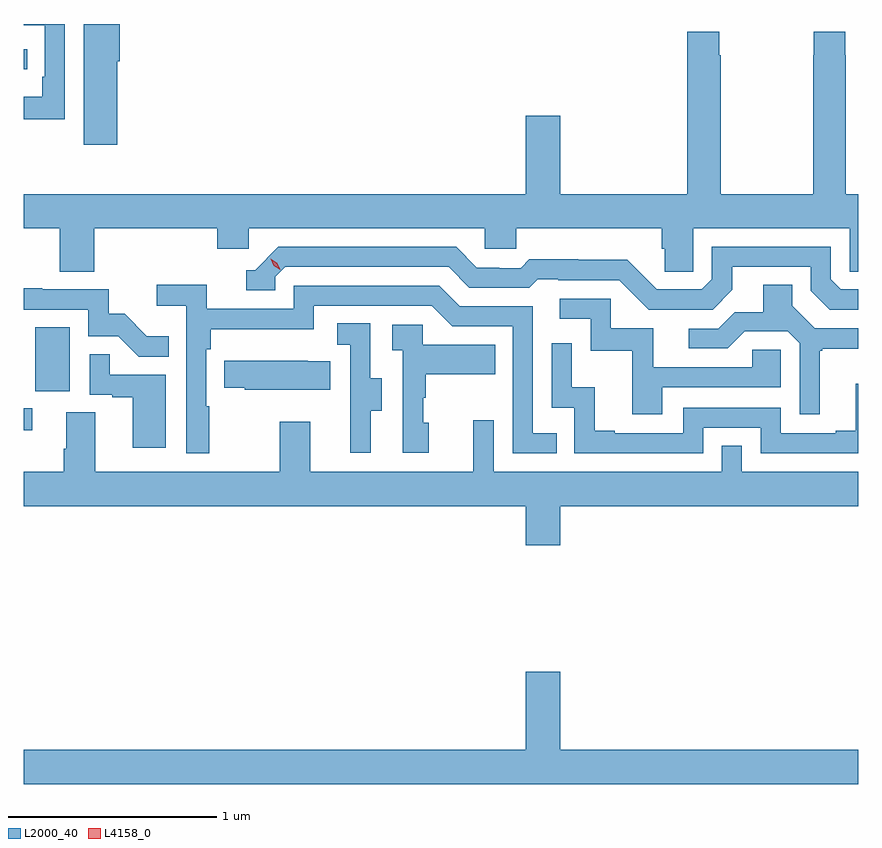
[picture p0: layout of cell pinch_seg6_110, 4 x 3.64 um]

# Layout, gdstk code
import gdstk
lib = gdstk.Library(unit=1e-6, precision=1e-09)
def R(c, l, rs):  # rectangles x0, y0, x1, y1
    for r in rs: c.add(gdstk.rectangle(r[:2], r[2:], *l))
def P(c, l, *ps):  # polygons
    for p in ps: c.add(gdstk.Polygon(p, *l))
L2000_40 = (2000, 40)
L4158_0 = (4158, 0)

pinch_seg6_110 = lib.new_cell('pinch_seg6_110')
R(pinch_seg6_110, L2000_40, [(905.857,918.396,905.896,918.501), (905.912,918.582,906.076,918.889), (905.857,920.127,905.872,920.223)])
P(pinch_seg6_110, L2000_40, [(906.304,920.166),(906.316,920.166),(906.316,920.344),(906.143,920.344),(906.143,919.764),(906.304,919.764)],
  [(906.054,920.344),(905.857,920.344),(905.857,920.337),(905.958,920.337),(905.958,920.092),(905.945,920.092),(905.945,919.996),(905.857,919.996),(905.857,919.887),(906.054,919.887)],
  [(906.194,919.364),(906.785,919.364),(906.785,919.266),(906.936,919.266),(906.936,919.364),(908.067,919.364),(908.067,919.266),(908.217,919.266),(908.217,919.364),(908.915,919.364),(908.915,919.266),(908.929,919.266),(908.929,919.156),(909.066,919.156),(909.066,919.364),(909.816,919.364),(909.816,919.156),(909.857,919.156),(909.857,919.528),(909.798,919.528),(909.798,920.195),(909.795,920.195),(909.795,920.308),(909.645,920.308),(909.645,920.195),(909.643,920.195),(909.643,919.528),(909.198,919.528),(909.198,920.195),(909.191,920.195),(909.191,920.308),(909.038,920.308),(909.038,919.528),(908.428,919.528),(908.428,919.903),(908.264,919.903),(908.264,919.528),(905.857,919.528),(905.857,919.364),(906.029,919.364),(906.029,919.156),(906.194,919.156)],
  [(909.253,919.069),(909.253,919.179),(909.63,919.179),(909.63,919.065),(909.72,918.975),(909.857,918.975),(909.857,919.071),(909.774,919.071),(909.726,919.119),(909.726,919.275),(909.156,919.275),(909.156,919.119),(909.108,919.071),(908.892,919.071),(908.75,919.213),(908.514,919.213),(908.514,919.216),(908.281,919.216),(908.239,919.173),(908.136,919.173),(908.136,919.176),(908.029,919.176),(907.93,919.275),(907.077,919.275),(906.966,919.164),(906.923,919.164),(906.923,919.068),(907.062,919.068),(907.062,919.131),(907.11,919.179),(907.893,919.179),(907.992,919.08),(908.281,919.08),(908.32,919.119),(908.419,919.119),(908.419,919.116),(908.712,919.116),(908.853,918.975),(909.159,918.975)],
  [(906.745,918.512),(906.732,918.512),(906.732,918.785),(906.752,918.785),(906.752,918.881),(907.248,918.881),(907.248,918.993),(907.812,918.993),(907.911,918.894),(908.202,918.894),(908.202,918.285),(908.411,918.285),(908.411,918.381),(908.298,918.381),(908.298,918.99),(907.948,918.99),(907.849,919.089),(907.152,919.089),(907.152,918.978),(906.734,918.978),(906.734,919.094),(906.495,919.094),(906.495,918.992),(906.636,918.992),(906.636,918.285),(906.745,918.285)],
  [(909.673,918.777),(909.685,918.777),(909.685,918.788),(909.857,918.788),(909.857,918.885),(909.648,918.885),(909.541,918.992),(909.541,919.094),(909.401,919.094),(909.401,918.962),(909.266,918.962),(909.186,918.882),(909.045,918.882),(909.045,918.789),(909.232,918.789),(909.313,918.87),(909.519,918.87),(909.576,918.813),(909.576,918.474),(909.673,918.474)],
  [(906.551,918.847),(906.447,918.847),(906.34,918.954),(906.264,918.954),(906.264,919.071),(905.945,919.071),(905.945,919.076),(905.857,919.076),(905.857,918.975),(906.165,918.975),(906.165,918.846),(906.309,918.846),(906.407,918.748),(906.551,918.748)],
  [(908.917,918.603),(909.486,918.603),(909.486,918.783),(909.349,918.783),(909.349,918.699),(908.875,918.699),(908.875,918.885),(908.67,918.885),(908.67,919.026),(908.427,919.026),(908.427,918.93),(908.574,918.93),(908.574,918.777),(908.773,918.777),(908.773,918.474),(908.917,918.474)],
  [(907.519,918.49),(907.573,918.49),(907.573,918.645),(907.518,918.645),(907.518,918.908),(907.359,918.908),(907.359,918.805),(907.422,918.805),(907.422,918.501),(907.421,918.501),(907.421,918.288),(907.519,918.288)],
  [(907.798,918.432),(907.773,918.432),(907.773,918.551),(907.783,918.551),(907.783,918.665),(908.117,918.665),(908.117,918.805),(907.77,918.805),(907.77,918.903),(907.623,918.903),(907.623,918.779),(907.674,918.779),(907.674,918.288),(907.798,918.288)],
  [(909.114,918.408),(909.39,918.408),(909.39,918.285),(909.857,918.285),(909.857,918.619),(909.845,918.619),(909.845,918.394),(909.749,918.394),(909.749,918.381),(909.486,918.381),(909.486,918.504),(909.018,918.504),(909.018,918.381),(908.689,918.381),(908.689,918.394),(908.594,918.394),(908.594,918.602),(908.484,918.602),(908.484,918.814),(908.388,918.814),(908.388,918.504),(908.496,918.504),(908.496,918.285),(909.114,918.285)],
  [(906.538,918.663),(906.269,918.663),(906.269,918.761),(906.174,918.761),(906.174,918.567),(906.281,918.567),(906.281,918.555),(906.38,918.555),(906.38,918.312),(906.538,918.312)],
  [(907.325,918.727),(907.217,918.727),(907.217,918.73),(906.817,918.73),(906.817,918.601),(906.915,918.601),(906.915,918.59),(907.325,918.59)],
  [(908.428,918.032),(909.857,918.032),(909.857,918.196),(909.3,918.196),(909.3,918.323),(909.204,918.323),(909.204,918.196),(908.109,918.196),(908.109,918.445),(908.012,918.445),(908.012,918.196),(907.231,918.196),(907.231,918.436),(907.084,918.436),(907.084,918.196),(906.199,918.196),(906.199,918.482),(906.059,918.482),(906.059,918.308),(906.047,918.308),(906.047,918.196),(905.857,918.196),(905.857,918.032),(908.264,918.032),(908.264,917.844),(908.428,917.844)],
  [(909.857,916.864),(908.428,916.864),(908.428,917.239),(908.264,917.239),(908.264,916.864),(905.857,916.864),(905.857,916.7),(909.857,916.7)])
P(pinch_seg6_110, L4158_0, [(907.086,919.165),(907.056,919.185),(907.04,919.218),(907.04,919.218),(907.04,919.218),(907.071,919.198),(907.086,919.165),(907.086,919.165)])

lib.write_gds('pinch_seg6_110.gds')
